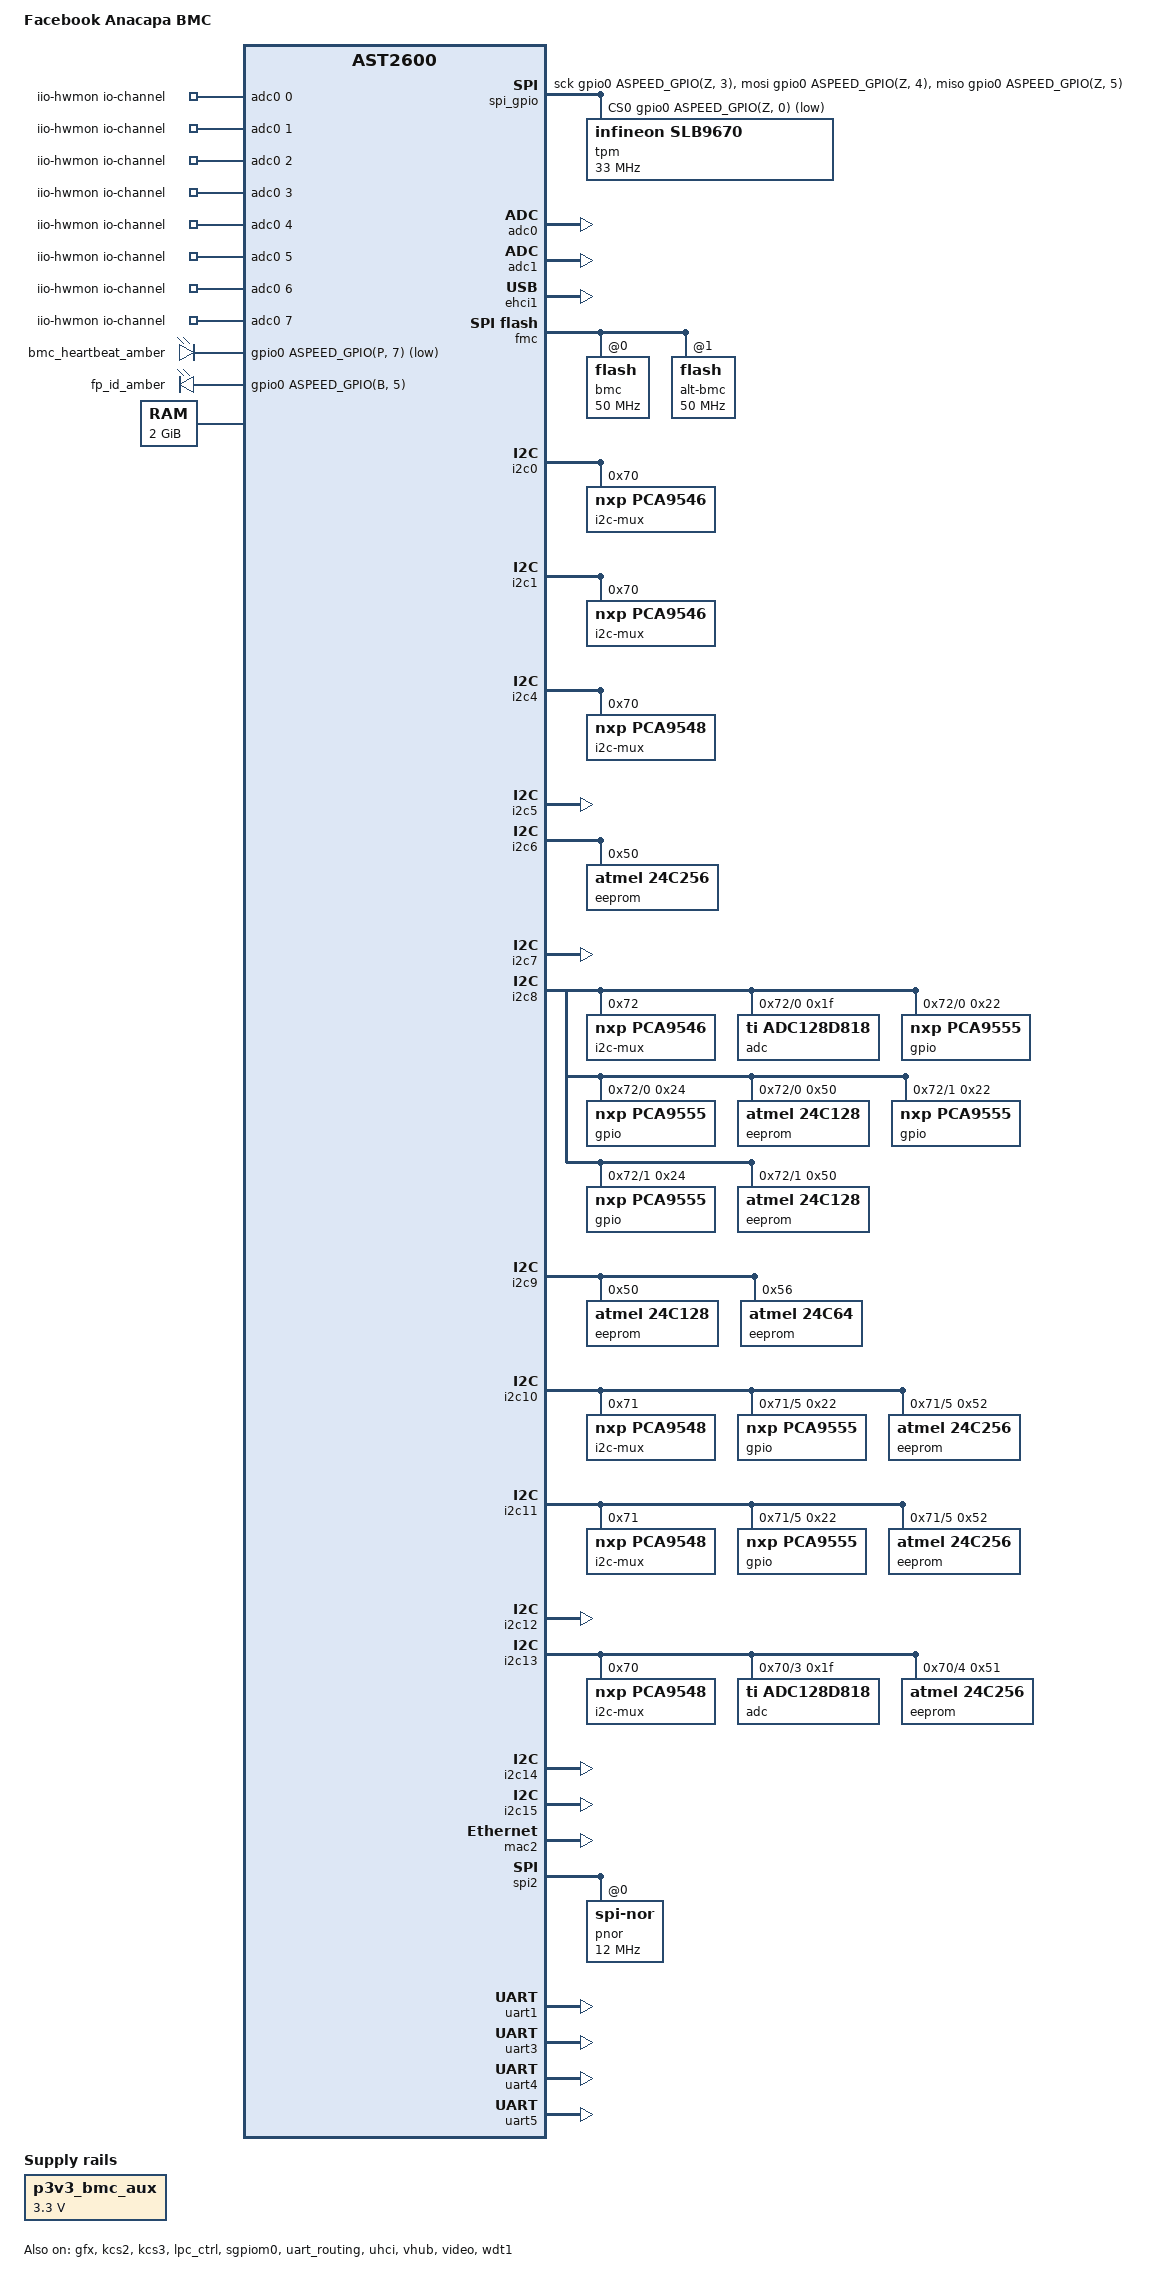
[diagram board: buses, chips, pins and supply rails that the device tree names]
// SPDX-License-Identifier: GPL-2.0-or-later

/dts-v1/;
#include "aspeed-g6.dtsi"
#include <dt-bindings/gpio/aspeed-gpio.h>
#include <dt-bindings/i2c/i2c.h>

/ {
	model = "Facebook Anacapa BMC";
	compatible = "facebook,anacapa-bmc", "aspeed,ast2600";

	aliases {
		serial0 = &uart1;
		serial1 = &uart2;
		serial2 = &uart3;
		serial3 = &uart4;
		serial4 = &uart5;
		i2c16 = &i2c0mux0ch0;
		i2c17 = &i2c0mux0ch1;
		i2c18 = &i2c0mux0ch2;
		i2c19 = &i2c0mux0ch3;
		i2c20 = &i2c1mux0ch0;
		i2c21 = &i2c1mux0ch1;
		i2c22 = &i2c1mux0ch2;
		i2c23 = &i2c1mux0ch3;
		i2c24 = &i2c4mux0ch0;
		i2c25 = &i2c4mux0ch1;
		i2c26 = &i2c4mux0ch2;
		i2c27 = &i2c4mux0ch3;
		i2c28 = &i2c4mux0ch4;
		i2c29 = &i2c4mux0ch5;
		i2c30 = &i2c4mux0ch6;
		i2c31 = &i2c4mux0ch7;
		i2c32 = &i2c8mux0ch0;
		i2c33 = &i2c8mux0ch1;
		i2c34 = &i2c8mux0ch2;
		i2c35 = &i2c8mux0ch3;
		i2c36 = &i2c10mux0ch0;
		i2c37 = &i2c10mux0ch1;
		i2c38 = &i2c10mux0ch2;
		i2c39 = &i2c10mux0ch3;
		i2c40 = &i2c10mux0ch4;
		i2c41 = &i2c10mux0ch5;
		i2c42 = &i2c10mux0ch6;
		i2c43 = &i2c10mux0ch7;
		i2c44 = &i2c11mux0ch0;
		i2c45 = &i2c11mux0ch1;
		i2c46 = &i2c11mux0ch2;
		i2c47 = &i2c11mux0ch3;
		i2c48 = &i2c11mux0ch4;
		i2c49 = &i2c11mux0ch5;
		i2c50 = &i2c11mux0ch6;
		i2c51 = &i2c11mux0ch7;
		i2c52 = &i2c13mux0ch0;
		i2c53 = &i2c13mux0ch1;
		i2c54 = &i2c13mux0ch2;
		i2c55 = &i2c13mux0ch3;
		i2c56 = &i2c13mux0ch4;
		i2c57 = &i2c13mux0ch5;
		i2c58 = &i2c13mux0ch6;
		i2c59 = &i2c13mux0ch7;
	};

	chosen {
		stdout-path = "serial4:57600n8";
	};

	iio-hwmon {
		compatible = "iio-hwmon";
		io-channels = <&adc0 0>, <&adc0 1>, <&adc0 2>, <&adc0 3>,
				  <&adc0 4>, <&adc0 5>, <&adc0 6>, <&adc0 7>,
				  <&adc1 2>;
	};

	leds {
		compatible = "gpio-leds";

		led-0 {
			label = "bmc_heartbeat_amber";
			gpios = <&gpio0 ASPEED_GPIO(P, 7) GPIO_ACTIVE_LOW>;
			linux,default-trigger = "heartbeat";
		};

		led-1 {
			label = "fp_id_amber";
			default-state = "off";
			gpios = <&gpio0 ASPEED_GPIO(B, 5) GPIO_ACTIVE_HIGH>;
		};
	};

	memory@80000000 {
		device_type = "memory";
		reg = <0x80000000 0x80000000>;
	};

	reserved-memory {
		#address-cells = <1>;
		#size-cells = <1>;
		ranges;

		video_engine_memory: video {
			size = <0x02c00000>;
			alignment = <0x00100000>;
			compatible = "shared-dma-pool";
			reusable;
		};

		gfx_memory: framebuffer {
			size = <0x01000000>;
			alignment = <0x01000000>;
			compatible = "shared-dma-pool";
			reusable;
		};
	};

	p3v3_bmc_aux: regulator-p3v3-bmc-aux {
		compatible = "regulator-fixed";
		regulator-name = "p3v3_bmc_aux";
		regulator-min-microvolt = <3300000>;
		regulator-max-microvolt = <3300000>;
		regulator-always-on;
	};

	spi_gpio: spi {
		compatible = "spi-gpio";
		#address-cells = <1>;
		#size-cells = <0>;

		sck-gpios = <&gpio0 ASPEED_GPIO(Z, 3) GPIO_ACTIVE_HIGH>;
		mosi-gpios = <&gpio0 ASPEED_GPIO(Z, 4) GPIO_ACTIVE_HIGH>;
		miso-gpios = <&gpio0 ASPEED_GPIO(Z, 5) GPIO_ACTIVE_HIGH>;
		cs-gpios = <&gpio0 ASPEED_GPIO(Z, 0) GPIO_ACTIVE_LOW>;
		num-chipselects = <1>;
		status = "okay";

		tpm@0 {
			compatible = "infineon,slb9670", "tcg,tpm_tis-spi";
			spi-max-frequency = <33000000>;
			reg = <0>;
		};
	};
};

&adc0 {
	aspeed,int-vref-microvolt = <2500000>;
	pinctrl-names = "default";
	pinctrl-0 = <&pinctrl_adc0_default &pinctrl_adc1_default
		&pinctrl_adc2_default &pinctrl_adc3_default
		&pinctrl_adc4_default &pinctrl_adc5_default
		&pinctrl_adc6_default &pinctrl_adc7_default>;
	status = "okay";
};

&adc1 {
	aspeed,int-vref-microvolt = <2500000>;
	pinctrl-names = "default";
	pinctrl-0 = <&pinctrl_adc10_default>;
	status = "okay";
};

&ehci1 {
	status = "okay";
};

&fmc {
	status = "okay";

	flash@0 {
		status = "okay";
		m25p,fast-read;
		label = "bmc";
		spi-max-frequency = <50000000>;
#include "openbmc-flash-layout-128.dtsi"
	};

	flash@1 {
		status = "okay";
		m25p,fast-read;
		label = "alt-bmc";
		spi-max-frequency = <50000000>;
	};
};

&gfx {
	status = "okay";
	memory-region = <&gfx_memory>;
};

&gpio0 {
	gpio-line-names =

	/*A0-A7*/
	"","","","","","","","",

	/*B0-B7*/
	"BATTERY_DETECT", "", "", "BMC_READY",
	"", "FM_ID_LED", "", "",

	/*C0-C7*/
	"","","","","","","","",

	/*D0-D7*/
	"","","","","","","","",

	/*E0-E7*/
	"","","","","","","","",

	/*F0-F7*/
	"","","","","","","","",

	/*G0-G7*/
	"FM_MUX1_SEL", "", "", "",
	"", "", "FM_DEBUG_PORT_PRSNT_N", "FM_BMC_DBP_PRESENT_N",

	/*H0-H7*/
	"","","","","","","","",

	/*I0-I7*/
	"", "", "", "",
	"", "FLASH_WP_STATUS", "BMC_JTAG_MUX_SEL", "",

	/*J0-J7*/
	"","","","","","","","",

	/*K0-K7*/
	"","","","","","","","",

	/*L0-L7*/
	"","","","","","","","",

	/*M0-M7*/
	"", "BMC_FRU_WP", "", "",
	"", "", "", "",

	/*N0-N7*/
	"LED_POSTCODE_0", "LED_POSTCODE_1", "LED_POSTCODE_2", "LED_POSTCODE_3",
	"LED_POSTCODE_4", "LED_POSTCODE_5", "LED_POSTCODE_6", "LED_POSTCODE_7",

	/*O0-O7*/
	"","","","","","","","",

	/*P0-P7*/
	"PWR_BTN_BMC_BUF_N", "", "ID_RST_BTN_BMC_N", "",
	"PWR_LED", "", "", "BMC_HEARTBEAT_N",

	/*Q0-Q7*/
	"","","","","","","","",

	/*R0-R7*/
	"","","","","","","","",

	/*S0-S7*/
	"", "", "SYS_BMC_PWRBTN_N", "",
	"", "", "", "RUN_POWER_FAULT",

	/*T0-T7*/
	"","","","","","","","",

	/*U0-U7*/
	"","","","","","","","",

	/*V0-V7*/
	"","","","","","","","",

	/*W0-W7*/
	"","","","","","","","",

	/*X0-X7*/
	"","","","","","","","",

	/*Y0-Y7*/
	"","","","","","","","",

	/*Z0-Z7*/
	"SPI_BMC_TPM_CS2_N", "", "", "SPI_BMC_TPM_CLK",
	"SPI_BMC_TPM_MOSI", "SPI_BMC_TPM_MISO", "", "";
};

&gpio1 {
	gpio-line-names =
	/*18A0-18A7*/
	"","","","","","","","",

	/*18B0-18B7*/
	"","","","",
	"FM_BOARD_BMC_REV_ID0", "FM_BOARD_BMC_REV_ID1",
	"FM_BOARD_BMC_REV_ID2", "",

	/*18C0-18C7*/
	"","","","","","","","",

	/*18D0-18D7*/
	"","","","","","","","",

	/*18E0-18E3*/
	"FM_BMC_PROT_LS_EN", "AC_PWR_BMC_BTN_N", "", "";
};

// L Bridge Board
&i2c0 {
	status = "okay";

	i2c-mux@70 {
		compatible = "nxp,pca9546";
		reg = <0x70>;
		#address-cells = <1>;
		#size-cells = <0>;
		i2c-mux-idle-disconnect;

		i2c0mux0ch0: i2c@0 {
			reg = <0>;
			#address-cells = <1>;
			#size-cells = <0>;
		};
		i2c0mux0ch1: i2c@1 {
			reg = <1>;
			#address-cells = <1>;
			#size-cells = <0>;
		};
		i2c0mux0ch2: i2c@2 {
			reg = <2>;
			#address-cells = <1>;
			#size-cells = <0>;
		};
		i2c0mux0ch3: i2c@3 {
			reg = <3>;
			#address-cells = <1>;
			#size-cells = <0>;
		};
	};
};

// R Bridge Board
&i2c1 {
	status = "okay";

	i2c-mux@70 {
		compatible = "nxp,pca9546";
		reg = <0x70>;
		#address-cells = <1>;
		#size-cells = <0>;
		i2c-mux-idle-disconnect;

		i2c1mux0ch0: i2c@0 {
			reg = <0>;
			#address-cells = <1>;
			#size-cells = <0>;
		};
		i2c1mux0ch1: i2c@1 {
			reg = <1>;
			#address-cells = <1>;
			#size-cells = <0>;
		};
		i2c1mux0ch2: i2c@2 {
			reg = <2>;
			#address-cells = <1>;
			#size-cells = <0>;
		};
		i2c1mux0ch3: i2c@3 {
			reg = <3>;
			#address-cells = <1>;
			#size-cells = <0>;
		};
	};
};

// MB - E1.S
&i2c4 {
	status = "okay";

	i2c-mux@70 {
		compatible = "nxp,pca9548";
		reg = <0x70>;
		#address-cells = <1>;
		#size-cells = <0>;
		i2c-mux-idle-disconnect;

		i2c4mux0ch0: i2c@0 {
			reg = <0>;
			#address-cells = <1>;
			#size-cells = <0>;
		};
		i2c4mux0ch1: i2c@1 {
			reg = <1>;
			#address-cells = <1>;
			#size-cells = <0>;
		};
		i2c4mux0ch2: i2c@2 {
			reg = <2>;
			#address-cells = <1>;
			#size-cells = <0>;
		};
		i2c4mux0ch3: i2c@3 {
			reg = <3>;
			#address-cells = <1>;
			#size-cells = <0>;
		};
		i2c4mux0ch4: i2c@4 {
			reg = <4>;
			#address-cells = <1>;
			#size-cells = <0>;
		};
		i2c4mux0ch5: i2c@5 {
			reg = <5>;
			#address-cells = <1>;
			#size-cells = <0>;
		};
		i2c4mux0ch6: i2c@6 {
			reg = <6>;
			#address-cells = <1>;
			#size-cells = <0>;
		};
		i2c4mux0ch7: i2c@7 {
			reg = <7>;
			#address-cells = <1>;
			#size-cells = <0>;
		};
	};
};

// AMC
&i2c5 {
	status = "okay";
};

// MB
&i2c6 {
	status = "okay";

	// HPM FRU
	eeprom@50 {
		compatible = "atmel,24c256";
		reg = <0x50>;
	};
};

// SCM
&i2c7 {
	status = "okay";


};

// MB - PDB
&i2c8 {
	status = "okay";

	i2c-mux@72 {
		compatible = "nxp,pca9546";
		reg = <0x72>;
		#address-cells = <1>;
		#size-cells = <0>;
		i2c-mux-idle-disconnect;

		i2c8mux0ch0: i2c@0 {
			reg = <0>;
			#address-cells = <1>;
			#size-cells = <0>;

			adc@1f {
				compatible = "ti,adc128d818";
				reg = <0x1f>;
				ti,mode = /bits/ 8 <1>;
			};

			gpio@22 {
				compatible = "nxp,pca9555";
				reg = <0x22>;
				gpio-controller;
				#gpio-cells = <2>;

				gpio-line-names =
					"RPDB_FAN_FULL_SPEED_R_N", "RPDB_I2C_TEMP75_U8_ALERT_R_N",
					"RPDB_I2C_TMP432_U29_ALERT_R_N", "RPDB_GLOBAL_WP",
					"RPDB_FAN_CT_FAN_FAIL_R_N", "",
					"", "",
					"RPDB_ALERT_P50V_HSC2_R_N", "RPDB_ALERT_P50V_HSC3_R_N",
					"RPDB_ALERT_P50V_HSC4_R_N", "RPDB_ALERT_P50V_STBY_R_N",
					"RPDB_I2C_P12V_MB_VRM_ALERT_R_N",
					"RPDB_I2C_P12V_STBY_VRM_ALERT_R_N",
					"RPDB_PGD_P3V3_STBY_PWRGD_R",
					"RPDB_P12V_STBY_VRM_PWRGD_BUF_R";
			};

			gpio@24 {
				compatible = "nxp,pca9555";
				reg = <0x24>;
				gpio-controller;
				#gpio-cells = <2>;

				gpio-line-names =
					"RPDB_EAM2_PRSNT_MOS_N_R", "RPDB_EAM3_PRSNT_MOS_N_R",
					"RPDB_PWRGD_P50V_HSC4_SYS_R",
					"RPDB_PWRGD_P50V_STBY_SYS_BUF_R",
					"RPDB_P50V_FAN1_R2_PG", "RPDB_P50V_FAN2_R2_PG",
					"RPDB_P50V_FAN3_R2_PG", "RPDB_P50V_FAN4_R2_PG",
					"", "RPDB_FAN1_PRSNT_N_R",
					"", "RPDB_FAN2_PRSNT_N_R",
					"RPDB_FAN3_PRSNT_N_R", "RPDB_FAN4_PRSNT_N_R",
					"", "";
			};

			// R-PDB FRU
			eeprom@50 {
				compatible = "atmel,24c128";
				reg = <0x50>;
			};
		};
		i2c8mux0ch1: i2c@1 {
			reg = <1>;
			#address-cells = <1>;
			#size-cells = <0>;

			gpio@22 {
				compatible = "nxp,pca9555";
				reg = <0x22>;
				gpio-controller;
				#gpio-cells = <2>;

				gpio-line-names =
					"LPDB_FAN_FULL_SPEED_R_N","LPDB_I2C_TEMP75_U8_ALERT_R_N",
					"LPDB_I2C_TMP432_U29_ALERT_R_N","LPDB_GLOBAL_WP",
					"LPDB_FAN_CT_FAN_FAIL_R_N","",
					"","",
					"LPDB_ALERT_P50V_HSC0_R_N","LPDB_ALERT_P50V_HSC1_R_N",
					"LPDB_ALERT_P50V_HSC5_R_N","LPDB_I2C_P12V_SW_VRM_ALERT_R_N",
					"LPDB_EAM0_PRSNT_MOS_N_R","LPDB_EAM1_PRSNT_MOS_N_R",
					"LPDB_PWRGD_P50V_HSC5_SYS_R","";
			};

			gpio@24 {
				compatible = "nxp,pca9555";
				reg = <0x24>;
				gpio-controller;
				#gpio-cells = <2>;

				gpio-line-names =
					"LPDB_P50V_FAN1_R2_PG","LPDB_P50V_FAN2_R2_PG",
					"LPDB_P50V_FAN3_R2_PG","LPDB_P50V_FAN4_R2_PG",
					"LPDB_P50V_FAN5_R2_PG","LPDB_FAN1_PRSNT_N_R",
					"LPDB_FAN2_PRSNT_N_R","LPDB_FAN3_PRSNT_N_R",
					"LPDB_FAN4_PRSNT_N_R","LPDB_FAN5_PRSNT_N_R",
					"","",
					"","",
					"","";
			};

			// L-PDB FRU
			eeprom@50 {
				compatible = "atmel,24c128";
				reg = <0x50>;
			};
		};
		i2c8mux0ch2: i2c@2 {
			reg = <2>;
			#address-cells = <1>;
			#size-cells = <0>;
		};
		i2c8mux0ch3: i2c@3 {
			reg = <3>;
			#address-cells = <1>;
			#size-cells = <0>;
		};
	};
};

// SCM
&i2c9 {
	status = "okay";

	// SCM FRU
	eeprom@50 {
		compatible = "atmel,24c128";
		reg = <0x50>;
	};

	// BSM FRU
	eeprom@56 {
		compatible = "atmel,24c64";
		reg = <0x56>;
	};
};

// R Bridge Board
&i2c10 {
	status = "okay";

	i2c-mux@71 {
		compatible = "nxp,pca9548";
		reg = <0x71>;
		#address-cells = <1>;
		#size-cells = <0>;
		i2c-mux-idle-disconnect;

		i2c10mux0ch0: i2c@0 {
			reg = <0>;
			#address-cells = <1>;
			#size-cells = <0>;
		};
		i2c10mux0ch1: i2c@1 {
			reg = <1>;
			#address-cells = <1>;
			#size-cells = <0>;
		};
		i2c10mux0ch2: i2c@2 {
			reg = <2>;
			#address-cells = <1>;
			#size-cells = <0>;
		};
		i2c10mux0ch3: i2c@3 {
			reg = <3>;
			#address-cells = <1>;
			#size-cells = <0>;
		};
		i2c10mux0ch4: i2c@4 {
			reg = <4>;
			#address-cells = <1>;
			#size-cells = <0>;
		};
		i2c10mux0ch5: i2c@5 {
			reg = <5>;
			#address-cells = <1>;
			#size-cells = <0>;

			gpio@22 {
				compatible = "nxp,pca9555";
				reg = <0x22>;
				gpio-controller;
				#gpio-cells = <2>;

				gpio-line-names =
					"","",
					"","RBB_CPLD_REFRESH_IN_PRGRS_R_L",
					"RBB_EAM0_NIC_CBL_PRSNT_R_L","RBB_EAM1_NIC_CBL_PRSNT_R_L",
					"RBB_AINIC_JTAG_MUX_R2_SEL","RBB_SPI_MUX0_R2_SEL",
					"RBB_AINIC_PRSNT_R_L","RBB_AINIC_OE_R_N",
					"RBB_AINIC_BOARD_R2_ID","RBB_RST_USB2_HUB_R_N",
					"RBB_RST_FT4222_R_N","RBB_RST_MCP2210_R_N",
					"","";
			};

			// R Bridge Board FRU
			eeprom@52 {
				compatible = "atmel,24c256";
				reg = <0x52>;
			};
		};
		i2c10mux0ch6: i2c@6 {
			reg = <6>;
			#address-cells = <1>;
			#size-cells = <0>;
		};
		i2c10mux0ch7: i2c@7 {
			reg = <7>;
			#address-cells = <1>;
			#size-cells = <0>;
		};
	};
};

// L Bridge Board
&i2c11 {
	status = "okay";

	i2c-mux@71 {
		compatible = "nxp,pca9548";
		reg = <0x71>;
		#address-cells = <1>;
		#size-cells = <0>;
		i2c-mux-idle-disconnect;

		i2c11mux0ch0: i2c@0 {
			reg = <0>;
			#address-cells = <1>;
			#size-cells = <0>;
		};
		i2c11mux0ch1: i2c@1 {
			reg = <1>;
			#address-cells = <1>;
			#size-cells = <0>;
		};
		i2c11mux0ch2: i2c@2 {
			reg = <2>;
			#address-cells = <1>;
			#size-cells = <0>;
		};
		i2c11mux0ch3: i2c@3 {
			reg = <3>;
			#address-cells = <1>;
			#size-cells = <0>;
		};
		i2c11mux0ch4: i2c@4 {
			reg = <4>;
			#address-cells = <1>;
			#size-cells = <0>;
		};
		i2c11mux0ch5: i2c@5 {
			reg = <5>;
			#address-cells = <1>;
			#size-cells = <0>;

			gpio@22 {
				compatible = "nxp,pca9555";
				reg = <0x22>;
				gpio-controller;
				#gpio-cells = <2>;

				gpio-line-names =
					"","",
					"","LBB_CPLD_REFRESH_IN_PRGRS_R_L",
					"LBB_EAM0_NIC_CBL_PRSNT_R_L","LBB_EAM1_NIC_CBL_PRSNT_R_L",
					"LBB_AINIC_JTAG_MUX_R2_SEL","LBB_SPI_MUX0_R2_SEL",
					"LBB_AINIC_PRSNT_R_L","LBB_AINIC_OE_R_N",
					"LBB_AINIC_BOARD_R2_ID","LBB_RST_USB2_HUB_R_N",
					"LBB_RST_FT4222_R_N","LBB_RST_MCP2210_R_N",
					"","";
			};

			// L Bridge Board FRU
			eeprom@52 {
				compatible = "atmel,24c256";
				reg = <0x52>;
			};
		};
		i2c11mux0ch6: i2c@6 {
			reg = <6>;
			#address-cells = <1>;
			#size-cells = <0>;
		};
		i2c11mux0ch7: i2c@7 {
			reg = <7>;
			#address-cells = <1>;
			#size-cells = <0>;
		};
	};
};

// Debug Card
&i2c12 {
	status = "okay";
};

// MB
&i2c13 {
	status = "okay";

	i2c-mux@70 {
		compatible = "nxp,pca9548";
		reg = <0x70>;
		#address-cells = <1>;
		#size-cells = <0>;
		i2c-mux-idle-disconnect;

		i2c13mux0ch0: i2c@0 {
			reg = <0>;
			#address-cells = <1>;
			#size-cells = <0>;
		};
		i2c13mux0ch1: i2c@1 {
			reg = <1>;
			#address-cells = <1>;
			#size-cells = <0>;
		};
		i2c13mux0ch2: i2c@2 {
			reg = <2>;
			#address-cells = <1>;
			#size-cells = <0>;
		};
		i2c13mux0ch3: i2c@3 {
			reg = <3>;
			#address-cells = <1>;
			#size-cells = <0>;

			adc@1f {
				compatible = "ti,adc128d818";
				reg = <0x1f>;
				ti,mode = /bits/ 8 <1>;
			};
		};
		i2c13mux0ch4: i2c@4 {
			reg = <4>;
			#address-cells = <1>;
			#size-cells = <0>;

			// HPM BRD ID FRU
			eeprom@51 {
				compatible = "atmel,24c256";
				reg = <0x51>;
			};
		};
		i2c13mux0ch5: i2c@5 {
			reg = <5>;
			#address-cells = <1>;
			#size-cells = <0>;
		};
		i2c13mux0ch6: i2c@6 {
			reg = <6>;
			#address-cells = <1>;
			#size-cells = <0>;
		};
		i2c13mux0ch7: i2c@7 {
			reg = <7>;
			#address-cells = <1>;
			#size-cells = <0>;
		};
	};
};

// SCM
&i2c14 {
	status = "okay";
};

&i2c15 {
	status = "okay";
};

&kcs2 {
	aspeed,lpc-io-reg = <0xca8>;
	status = "okay";
};

&kcs3 {
	aspeed,lpc-io-reg = <0xca2>;
	status = "okay";
};

&lpc_ctrl {
	status = "okay";
};

&mac2 {
	status = "okay";
	pinctrl-names = "default";
	pinctrl-0 = <&pinctrl_ncsi3_default>;
	use-ncsi;
};

&sgpiom0 {
	ngpios = <128>;
	bus-frequency = <2000000>;
	gpio-line-names =
	/*in - out - in - out */
	/* A0-A7 line 0-15 */
	"", "FM_CPU0_SYS_RESET_N", "", "CPU0_KBRST_N",
	"", "FM_CPU0_PROCHOT_trigger_N", "", "FM_CLR_CMOS_R_P0",
	"", "Force_I3C_SEL", "", "SYSTEM_Force_Run_AC_Cycle",
	"", "", "", "",

	/* B0-B7 line 16-31 */
	"Channel0_leakage_EAM3", "FM_CPU_FPGA_JTAG_MUX_SEL",
	"Channel1_leakage_EAM0", "FM_SCM_JTAG_MUX_SEL",
	"Channel2_leakage_Manifold1", "FM_BRIDGE_JTAG_MUX_SEL",
	"Channel3_leakage", "FM_CPU0_NMI_SYNC_FLOOD_N",
	"Channel4_leakage_Manifold2", "",
	"Channel5_leakage_EAM1", "",
	"Channel6_leakage_CPU_DIMM", "",
	"Channel7_leakage_EAM2", "",

	/* C0-C7 line 32-47 */
	"RSVD_RMC_GPIO3", "", "", "",
	"", "", "", "",
	"LEAK_DETECT_RMC_N", "", "", "",
	"", "", "", "",

	/* D0-D7 line 48-63 */
	"PWRGD_PDB_EAMHSC0_CPLD_PG_R", "",
	"PWRGD_PDB_EAMHSC1_CPLD_PG_R", "",
	"PWRGD_PDB_EAMHSC2_CPLD_PG_R", "",
	"PWRGD_PDB_EAMHSC3_CPLD_PG_R", "",
	"AMC_BRD_PRSNT_CPLD_L", "", "", "",
	"", "", "", "",

	/* E0-E7 line 64-79 */
	"AMC_PDB_EAMHSC0_CPLD_EN_R", "",
	"AMC_PDB_EAMHSC1_CPLD_EN_R", "",
	"AMC_PDB_EAMHSC2_CPLD_EN_R", "",
	"AMC_PDB_EAMHSC3_CPLD_EN_R", "",
	"", "", "", "",
	"", "", "", "",

	/* F0-F7 line 80-95 */
	"PWRGD_PVDDCR_CPU1_P0", "SGPIO_READY",
	"PWRGD_PVDDCR_CPU0_P0", "",
	"", "", "", "",
	"", "", "", "",

	/* G0-G7 line 96-111 */
	"PWRGD_PVDDCR_SOC_P0", "",
	"PWRGD_PVDDIO_P0", "",
	"PWRGD_PVDDIO_MEM_S3_P0", "",
	"PWRGD_CHMP_CPU0_FPGA", "",
	"PWRGD_CHIL_CPU0_FPGA", "",
	"PWRGD_CHEH_CPU0_FPGA", "",
	"PWRGD_CHAD_CPU0_FPGA", "FM_BMC_READY_PLD",
	"", "",

	/* H0-H7 line 112-127 */
	"PWRGD_P3V3", "",
	"P12V_DDR_IP_PWRGD_R", "",
	"P12V_DDR_AH_PWRGD_R", "",
	"PWRGD_P12V_VRM1_CPLD_PG_R", "",
	"PWRGD_P12V_VRM0_CPLD_PG_R", "",
	"PWRGD_PDB_HSC4_CPLD_PG_R", "",
	"PWRGD_PVDD18_S5_P0_PG", "",
	"PWRGD_PVDD33_S5_P0_PG", "",

	/* I0-I7 line 128-143 */
	"EAM0_BRD_PRSNT_R_L", "",
	"EAM1_BRD_PRSNT_R_L", "",
	"EAM2_BRD_PRSNT_R_L", "",
	"EAM3_BRD_PRSNT_R_L", "",
	"EAM0_CPU_MOD_PWR_GD_R", "",
	"EAM1_CPU_MOD_PWR_GD_R", "",
	"EAM2_CPU_MOD_PWR_GD_R", "",
	"EAM3_CPU_MOD_PWR_GD_R", "",

	/* J0-J7 line 144-159 */
	"PRSNT_L_BIRDGE_R", "",
	"PRSNT_R_BIRDGE_R", "",
	"BRIDGE_L_MAIN_PG_R", "",
	"BRIDGE_R_MAIN_PG_R", "",
	"BRIDGE_L_STBY_PG_R", "",
	"BRIDGE_R_STBY_PG_R", "",
	"", "", "", "",

	/* K0-K7 line 160-175 */
	"ADC_I2C_ALERT_N", "",
	"TEMP_I2C_ALERT_R_L", "",
	"CPU0_VR_SMB_ALERT_CPLD_N", "",
	"COVER_INTRUDER_R_N", "",
	"HANDLE_INTRUDER_CPLD_N", "",
	"IRQ_MCIO_CPLD_WAKE_R_N", "",
	"APML_CPU0_ALERT_R_N", "",
	"PDB_ALERT_R_N", "",

	/* L0-L7 line 176-191 */
	"CPU0_SP7R1", "", "CPU0_SP7R2", "",
	"CPU0_SP7R3", "", "CPU0_SP7R4", "",
	"CPU0_CORETYPE0", "", "CPU0_CORETYPE1", "",
	"CPU0_CORETYPE2", "", "FM_BIOS_POST_CMPLT_R_N", "",

	/* M0-M7 line 192-207 */
	"EAM0_SMERR_CPLD_R_L", "",
	"EAM1_SMERR_CPLD_R_L", "",
	"EAM2_SMERR_CPLD_R_L", "",
	"EAM3_SMERR_CPLD_R_L", "",
	"CPU0_SMERR_N_R", "",
	"CPU0_NV_SAVE_N_R", "",
	"PDB_PWR_LOSS_CPLD_N", "",
	"IRQ_BMC_SMI_ACTIVE_R_N", "",

	/* N0-N7 line 208-223 */
	"AMCROT_BMC_S5_RDY_R", "",
	"AMC_RDY_R", "",
	"AMC_STBY_PGOOD_R", "",
	"CPU_AMC_SLP_S5_R_L", "",
	"AMC_CPU_EAMPG_R", "",
	"", "", "", "",

	/* O0-O7 line 224-239 */
	"HPM_PWR_FAIL", "Port80_b0",
	"FM_DIMM_IP_FAIL", "Port80_b1",
	"FM_DIMM_AH_FAIL", "Port80_b2",
	"HPM_AMC_THERMTRIP_R_L", "Port80_b3",
	"FM_CPU0_THERMTRIP_N", "Port80_b4",
	"PVDDCR_SOC_P0_OCP_L", "Port80_b5",
	"CPLD_SGPIO_RDY", "Port80_b6",
	"", "Port80_b7",

	/* P0-P7 line 240-255 */
	"CPU0_SLP_S5_N_R", "NFC_VEN",
	"CPU0_SLP_S3_N_R", "",
	"FM_CPU0_PWRGD", "",
	"PWRGD_RMC", "",
	"FM_RST_CPU0_RESET_N", "",
	"FM_PWRGD_CPU0_PWROK", "",
	"wS5_PWR_Ready", "",
	"wS0_ON_N", "PWRGD_P1V0_AUX";
	status = "okay";
};

// BIOS Flash
&spi2 {
	pinctrl-names = "default";
	pinctrl-0 = <&pinctrl_spi2_default>;
	status = "okay";
	reg = <0x1e631000 0xc4>, <0x50000000 0x8000000>;

	flash@0 {
		compatible = "jedec,spi-nor";
		label = "pnor";
		spi-max-frequency = <12000000>;
		spi-tx-bus-width = <2>;
		spi-rx-bus-width = <2>;
		status = "okay";
	};
};

// HOST BIOS Debug
&uart1 {
	status = "okay";
};

&uart3 {
	status = "okay";
};

&uart4 {
	status = "okay";
};

// BMC Debug Console
&uart5 {
	status = "okay";
};

&uart_routing {
	status = "okay";
};

&uhci {
	status = "okay";
};

&vhub {
	status = "okay";
	pinctrl-names = "default";
};

&video {
	status = "okay";
	memory-region = <&video_engine_memory>;
};

&wdt1 {
	pinctrl-names = "default";
	pinctrl-0 = <&pinctrl_wdtrst1_default>;
	aspeed,reset-type = "soc";
	aspeed,external-signal;
	aspeed,ext-push-pull;
	aspeed,ext-active-high;
	aspeed,ext-pulse-duration = <256>;
	status = "okay";
};
